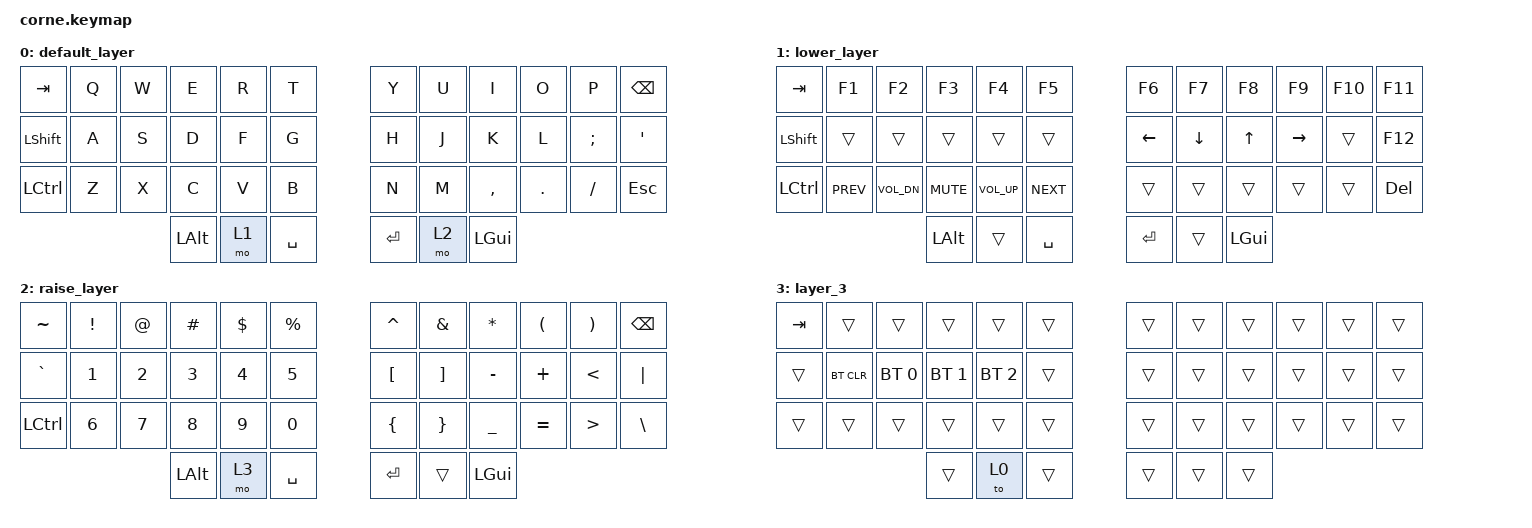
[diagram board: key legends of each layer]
/*
 * Copyright (c) 2020 The ZMK Contributors
 *
 * SPDX-License-Identifier: MIT
 */

#include <behaviors.dtsi>
#include <dt-bindings/zmk/bt.h>
#include <dt-bindings/zmk/keys.h>

/ {
    keymap {
        compatible = "zmk,keymap";

        default_layer {
            // -----------------------------------------------------------------------------------------
            // |  TAB |  Q  |  W  |  E  |  R  |  T  |   |  Y  |  U   |  I  |  O  |  P  | BKSP |
            // | CTRL |  A  |  S  |  D  |  F  |  G  |   |  H  |  J   |  K  |  L  |  ;  |  '   |
            // | SHFT |  Z  |  X  |  C  |  V  |  B  |   |  N  |  M   |  ,  |  .  |  /  | ESC  |
            //                    | GUI | LWR | SPC |   | ENT | RSE  | ALT |

            bindings = <
&kp TAB           &kp Q  &kp W  &kp E         &kp R  &kp T        &kp Y    &kp U  &kp I         &kp O    &kp P     &kp BSPC
&kp LEFT_SHIFT    &kp A  &kp S  &kp D         &kp F  &kp G        &kp H    &kp J  &kp K         &kp L    &kp SEMI  &kp SQT
&kp LEFT_CONTROL  &kp Z  &kp X  &kp C         &kp V  &kp B        &kp N    &kp M  &kp COMMA     &kp DOT  &kp FSLH  &kp ESC
                                &kp LEFT_ALT  &mo 1  &kp SPACE    &kp RET  &mo 2  &kp LEFT_GUI
            >;
        };

        lower_layer {
            // -----------------------------------------------------------------------------------------
            // |  TAB |  1  |  2  |  3  |  4  |  5  |   |  6  |  7  |  8  |  9  |  0  | BKSP |
            // | BTCLR| BT1 | BT2 | BT3 | BT4 | BT5 |   | LFT | DWN |  UP | RGT |     |      |
            // | SHFT |     |     |     |     |     |   |     |     |     |     |     |      |
            //                    | GUI |     | SPC |   | ENT |     | ALT |

            bindings = <
&kp TAB           &kp F1      &kp F2        &kp F3        &kp F4           &kp F5        &kp F6    &kp F7    &kp F8        &kp F9     &kp F10  &kp F11
&kp LEFT_SHIFT    &trans      &trans        &trans        &trans           &trans        &kp LEFT  &kp DOWN  &kp UP        &kp RIGHT  &trans   &kp F12
&kp LEFT_CONTROL  &kp C_PREV  &kp C_VOL_DN  &kp C_MUTE    &kp C_VOLUME_UP  &kp C_NEXT    &trans    &trans    &trans        &trans     &trans   &kp DELETE
                                            &kp LEFT_ALT  &trans           &kp SPACE     &kp RET   &trans    &kp LEFT_GUI
            >;
        };

        raise_layer {
            // -----------------------------------------------------------------------------------------
            // |  TAB |  !  |  @  |  #  |  $  |  %  |   |  ^  |  &  |  *  |  (  |  )  | BKSP |
            // | CTRL |     |     |     |     |     |   |  -  |  =  |  [  |  ]  |  \  |  `   |
            // | SHFT |     |     |     |     |     |   |  _  |  +  |  {  |  }  | "|" |  ~   |
            //                    | GUI |     | SPC |   | ENT |     | ALT |

            bindings = <
&kp TILDE  &kp EXCLAMATION  &kp AT_SIGN  &kp POUND     &kp DOLLAR  &kp PERCENT    &kp CARET         &kp AMPS           &kp ASTERISK    &kp LEFT_PARENTHESIS  &kp RIGHT_PARENTHESIS  &kp BSPC
&kp GRAVE  &kp N1           &kp N2       &kp N3        &kp N4      &kp N5         &kp LEFT_BRACKET  &kp RIGHT_BRACKET  &kp MINUS       &kp PLUS              &kp LESS_THAN          &kp PIPE
&kp LCTRL  &kp N6           &kp N7       &kp N8        &kp N9      &kp N0         &kp LEFT_BRACE    &kp RIGHT_BRACE    &kp UNDERSCORE  &kp EQUAL             &kp GREATER_THAN       &kp BACKSLASH
                                         &kp LEFT_ALT  &mo 3       &kp SPACE      &kp RET           &trans             &kp LEFT_GUI
            >;
        };

        layer_3 {
            bindings = <
&kp TAB  &trans      &trans        &trans        &trans        &trans    &trans  &trans  &trans  &trans  &trans  &trans
&trans   &bt BT_CLR  &bt BT_SEL 0  &bt BT_SEL 1  &bt BT_SEL 2  &trans    &trans  &trans  &trans  &trans  &trans  &trans
&trans   &trans      &trans        &trans        &trans        &trans    &trans  &trans  &trans  &trans  &trans  &trans
                                   &trans        &to 0         &trans    &trans  &trans  &trans
            >;
        };
    };
};
